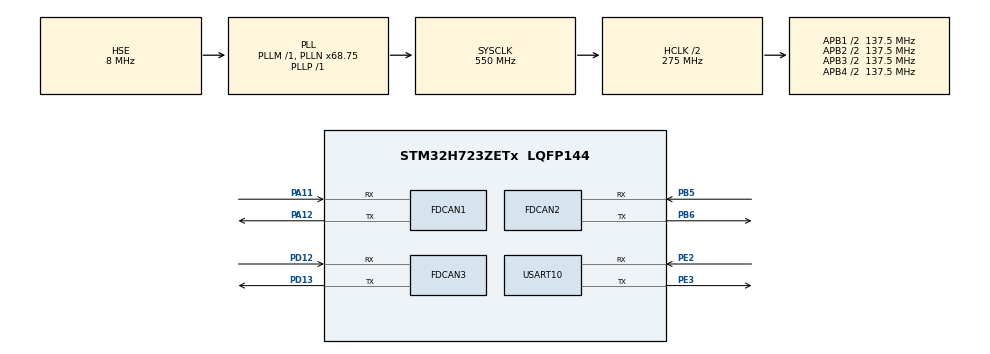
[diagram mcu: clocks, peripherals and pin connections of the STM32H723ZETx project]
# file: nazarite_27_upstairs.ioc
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CORTEX_M7.CPU_DCache=Enabled
CORTEX_M7.CPU_ICache=Enabled
CORTEX_M7.default_mode_Activation=1
Dma.Request0=USART10_RX
Dma.Request1=USART10_TX
Dma.USART10_RX.0.Direction=DMA_PERIPH_TO_MEMORY
Dma.USART10_RX.0.EventEnable=DISABLE
Dma.USART10_RX.0.FIFOMode=DMA_FIFOMODE_DISABLE
Dma.USART10_RX.0.Instance=DMA1_Stream0
Dma.USART10_RX.0.MemDataAlignment=DMA_MDATAALIGN_BYTE
Dma.USART10_RX.0.MemInc=DMA_MINC_ENABLE
Dma.USART10_RX.0.Mode=DMA_CIRCULAR
Dma.USART10_RX.0.PeriphDataAlignment=DMA_PDATAALIGN_BYTE
Dma.USART10_RX.0.PeriphInc=DMA_PINC_DISABLE
Dma.USART10_RX.0.Polarity=HAL_DMAMUX_REQ_GEN_RISING
Dma.USART10_RX.0.Priority=DMA_PRIORITY_LOW
Dma.USART10_RX.0.RequestNumber=1
Dma.USART10_RX.0.SignalID=NONE
Dma.USART10_RX.0.SyncEnable=DISABLE
Dma.USART10_RX.0.SyncPolarity=HAL_DMAMUX_SYNC_NO_EVENT
Dma.USART10_RX.0.SyncRequestNumber=1
Dma.USART10_RX.0.SyncSignalID=NONE
Dma.USART10_TX.1.Direction=DMA_MEMORY_TO_PERIPH
Dma.USART10_TX.1.EventEnable=DISABLE
Dma.USART10_TX.1.FIFOMode=DMA_FIFOMODE_DISABLE
Dma.USART10_TX.1.Instance=DMA1_Stream1
Dma.USART10_TX.1.MemDataAlignment=DMA_MDATAALIGN_BYTE
Dma.USART10_TX.1.MemInc=DMA_MINC_ENABLE
Dma.USART10_TX.1.Mode=DMA_NORMAL
Dma.USART10_TX.1.PeriphDataAlignment=DMA_PDATAALIGN_BYTE
Dma.USART10_TX.1.PeriphInc=DMA_PINC_DISABLE
Dma.USART10_TX.1.Polarity=HAL_DMAMUX_REQ_GEN_RISING
Dma.USART10_TX.1.Priority=DMA_PRIORITY_LOW
Dma.USART10_TX.1.RequestNumber=1
Dma.USART10_TX.1.SignalID=NONE
Dma.USART10_TX.1.SyncEnable=DISABLE
Dma.USART10_TX.1.SyncPolarity=HAL_DMAMUX_SYNC_NO_EVENT
Dma.USART10_TX.1.SyncRequestNumber=1
Dma.USART10_TX.1.SyncSignalID=NONE
FDCAN1.AutoRetransmission=ENABLE
FDCAN1.CalculateBaudRateNominal=1000000
FDCAN1.CalculateTimeBitNominal=1000
FDCAN1.CalculateTimeQuantumNominal=62.5
FDCAN1.DataTimeSeg1=1
FDCAN1.DataTimeSeg2=1
FDCAN1.NominalPrescaler=6
FDCAN1.NominalTimeSeg1=13
FDCAN1.NominalTimeSeg2=2
FDCAN1.RxFifo0ElmtsNbr=32
FDCAN1.StdFiltersNbr=32
FDCAN1.TxBuffersNbr=8
FDCAN1.TxFifoQueueElmtsNbr=8
FDCAN2.AutoRetransmission=ENABLE
FDCAN2.CalculateBaudRateNominal=1000000
FDCAN2.CalculateTimeBitNominal=1000
FDCAN2.CalculateTimeQuantumNominal=62.5
FDCAN2.MessageRAMOffset=500
FDCAN2.NominalPrescaler=6
FDCAN2.NominalTimeSeg1=13
FDCAN2.NominalTimeSeg2=2
FDCAN2.RxFifo0ElmtsNbr=8
FDCAN2.StdFiltersNbr=32
FDCAN2.TxBuffersNbr=8
FDCAN2.TxFifoQueueElmtsNbr=8
FDCAN3.AutoRetransmission=ENABLE
FDCAN3.CalculateBaudRateNominal=1000000
FDCAN3.CalculateTimeBitNominal=1000
FDCAN3.CalculateTimeQuantumNominal=62.5
FDCAN3.MessageRAMOffset=1000
FDCAN3.NominalPrescaler=6
FDCAN3.NominalTimeSeg1=13
FDCAN3.NominalTimeSeg2=2
FDCAN3.RxFifo0ElmtsNbr=8
FDCAN3.StdFiltersNbr=32
FDCAN3.TxBuffersNbr=8
FDCAN3.TxFifoQueueElmtsNbr=8
FREERTOS.Tasks01=defaultTask,24,128,StartDefaultTask,Default,NULL,Dynamic,NULL,NULL;Bluer_Da_analyz,41,256,Bluer_Da_analyz_Hander,Default,NULL,Dynamic,NULL,NULL;Upstairs_Task,42,256,Upstairs_Task_Hander,Default,NULL,Dynamic,NULL,NULL;Chassis_Task,41,384,Chassis_Task_Hander,Default,NULL,Dynamic,NULL,NULL
Mcu.Family=STM32H7
Mcu.Name=STM32H723ZETx
Mcu.Package=LQFP144
NVIC.DMA1_Stream0_IRQn=true\:5\:0\:false\:false\:true\:true\:false\:true\:true
NVIC.DMA1_Stream1_IRQn=true\:5\:0\:false\:false\:true\:true\:false\:true\:true
NVIC.FDCAN1_IT0_IRQn=true\:5\:0\:false\:false\:true\:true\:true\:true\:true
NVIC.FDCAN2_IT0_IRQn=true\:5\:0\:false\:false\:true\:true\:true\:true\:true
NVIC.FDCAN3_IT0_IRQn=true\:5\:0\:false\:false\:true\:true\:true\:true\:true
NVIC.PriorityGroup=NVIC_PRIORITYGROUP_4
NVIC.TIM23_IRQn=true\:15\:0\:false\:false\:true\:false\:false\:true\:true
NVIC.TimeBase=TIM23_IRQn
NVIC.TimeBaseIP=TIM23
NVIC.USART10_IRQn=true\:5\:0\:false\:false\:true\:true\:true\:true\:true
PA11.Mode=FDCAN_Activate
PA11.Signal=FDCAN1_RX
PA12.Mode=FDCAN_Activate
PA12.Signal=FDCAN1_TX
PA13(JTMS/SWDIO).Mode=Serial_Wire
PA13(JTMS/SWDIO).Signal=DEBUG_JTMS-SWDIO
PA14(JTCK/SWCLK).Mode=Serial_Wire
PA14(JTCK/SWCLK).Signal=DEBUG_JTCK-SWCLK
PB5.Mode=FDCAN_Activate
PB5.Signal=FDCAN2_RX
PB6.Mode=FDCAN_Activate
PB6.Signal=FDCAN2_TX
PD12.Mode=FDCAN_Activate
PD12.Signal=FDCAN3_RX
PD13.Mode=FDCAN_Activate
PD13.Signal=FDCAN3_TX
PE2.Mode=Asynchronous
PE2.Signal=USART10_RX
PE3.Mode=Asynchronous
PE3.Signal=USART10_TX
PH0-OSC_IN.Mode=HSE-External-Oscillator
PH0-OSC_IN.Signal=RCC_OSC_IN
PH1-OSC_OUT.Mode=HSE-External-Oscillator
PH1-OSC_OUT.Signal=RCC_OSC_OUT
ProjectManager.HeapSize=0x200
ProjectManager.StackSize=0x400
ProjectManager.TargetToolchain=MDK-ARM V5.32
RCC.ADCFreq_Value=96000000
RCC.APB1Freq_Value=137500000
RCC.APB2Freq_Value=137500000
RCC.APB3Freq_Value=137500000
RCC.APB4Freq_Value=137500000
RCC.CortexFreq_Value=550000000
RCC.D1PPRE=RCC_APB3_DIV2
RCC.D2PPRE1=RCC_APB1_DIV2
RCC.D2PPRE2=RCC_APB2_DIV2
RCC.D3PPRE=RCC_APB4_DIV2
RCC.DIVM1=1
RCC.DIVM2=1
RCC.DIVN1=68
RCC.DIVN2=24
RCC.DIVP1=1
RCC.DIVQ1=4
RCC.FDCANCLockSelection=RCC_FDCANCLKSOURCE_PLL2
RCC.HCLKFreq_Value=275000000
RCC.HPRE=RCC_HCLK_DIV2
RCC.HSE_VALUE=8000000
RCC.PLL1_VCI_Range=RCC_PLL1VCIRANGE_3
RCC.PLLFRACN=6144
RCC.PLLSourceVirtual=RCC_PLLSOURCE_HSE
RCC.SYSCLKFreq_VALUE=550000000
RCC.SYSCLKSource=RCC_SYSCLKSOURCE_PLLCLK
RCC.USBFreq_Value=137500000
USART10.VirtualMode-Asynchronous=VM_ASYNC
VP_FREERTOS_VS_CMSIS_V2.Mode=CMSIS_V2
VP_MEMORYMAP_VS_MEMORYMAP.Mode=CurAppReg
VP_SYS_VS_tim23.Mode=TIM23
board=custom

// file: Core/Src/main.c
/* USER CODE BEGIN Header */
/**
  ******************************************************************************
  * @file           : main.c
  * @brief          : Main program body
  ******************************************************************************
  * @attention
  *
  * Copyright (c) 2026 STMicroelectronics.
  * All rights reserved.
  *
  * This software is licensed under terms that can be found in the LICENSE file
  * in the root directory of this software component.
  * If no LICENSE file comes with this software, it is provided AS-IS.
  *
  ******************************************************************************
  */
/* USER CODE END Header */
#include "main.h"
#include "FreeRTOS.h"
#include "cmsis_os2.h"
#include "dma.h"
#include "fdcan.h"
#include "usart.h"
#include "gpio.h"

/* USER CODE BEGIN Includes */
#include "My_CAN.h"
#include "Chassis.h"
#include "DjiMotor.h"
#include "Motor_Test.h"
#include "Encoder_Test.h"
/* USER CODE END Includes */

/* USER CODE BEGIN PD */

/* 1：裸机直接输出测试（3508 电流 / GM6020 电压）；0：正常启动 RTOS。 */
#define MOTOR_CURRENT_TEST_ONLY 0

/* USER CODE END PD */

/* USER CODE BEGIN PV */

/* 电机测试观察量：Keil Watch 中查看；HAL_OK 仅表示已入发送队列。 */
volatile HAL_StatusTypeDef g_test_can_init_status[3] = {HAL_ERROR, HAL_ERROR, HAL_ERROR};
volatile HAL_StatusTypeDef g_test_motor_send_status = HAL_ERROR;
volatile uint32_t g_test_motor_send_count;
FDCAN_ProtocolStatusTypeDef g_test_can1_protocol;
FDCAN_ErrorCountersTypeDef g_test_can1_counters;

/* 关心哪些 CAN 报文 ID —— 这是应用层的事，BSP 不该管 */
static const CAN_Filter_t can1_filter[] = {
    { 0x201, 0x7FF },   /* 左前 3508 ID1 */
    { 0x202, 0x7FF },   /* 左后 3508 ID2 */
    { 0x205, 0x7FF },   /* 左前 6020 ID1 */
    { 0x206, 0x7FF },   /* 左后 6020 ID2 */
};
static const CAN_Filter_t can2_filter[] = {
    { 0x203, 0x7FF },   /* 右后 3508 ID3 */
    { 0x204, 0x7FF },   /* 右前 3508 ID4 */
    { 0x207, 0x7FF },   /* 右后 6020 ID3 */
    { 0x208, 0x7FF },   /* 右前 6020 ID4 */
};
static const CAN_Filter_t can3_filter[] = {
    { 0x201, 0x7FF },   /* 上层 3508_3 ID1 */
    { 0x202, 0x7FF },   /* 上层 3508_2 ID2 */
    { 0x203, 0x7FF },   /* 上层 2006_2 ID3 */
    { 0x204, 0x7FF },   /* 上层 2006_1 ID4 */
    { 0x205, 0x7FF },   /* 上层 3508_1 ID5 */
};
/* 漏一个 ID 的现象是「那台电机读数一直是 0」—— 不是报错，是滤波器把它
 * 挡在门外了。电机清单改了（DjiMotor_Init）这张表要跟着改。 */

/* USER CODE END PV */

void SystemClock_Config(void);
void PeriphCommonClock_Config(void);
static void MPU_Config(void);
void MX_FREERTOS_Init(void);

int main(void)
{

  /* MPU Configuration--------------------------------------------------------*/
  MPU_Config();

  /* Enable the CPU Cache */

  /* Enable I-Cache---------------------------------------------------------*/
  SCB_EnableICache();

  /* Enable D-Cache---------------------------------------------------------*/
  SCB_EnableDCache();

  /* MCU Configuration--------------------------------------------------------*/

  /* Reset of all peripherals, Initializes the Flash interface and the Systick. */
  HAL_Init();

  /* Configure the system clock */
  SystemClock_Config();

  /* Configure the peripherals common clocks */
  PeriphCommonClock_Config();

  /* Initialize all configured peripherals */
  MX_GPIO_Init();
  MX_DMA_Init();
  MX_FDCAN1_Init();
  MX_FDCAN2_Init();
  MX_FDCAN3_Init();
  MX_USART10_UART_Init();
  /* USER CODE BEGIN 2 */

  /* Register all 13 motors before CAN interrupts can deliver feedback. */
  DjiMotor_Init();

  /* CAN 必须在 MX_FDCANx_Init() 之后才能启动：
   * ConfigGlobalFilter / Start 都要求外设状态为 READY，
   * 而在这里 FDCAN 的时钟和 Message RAM 才刚配好 */
  g_test_can_init_status[0] = BSP_CAN_Init(&hfdcan1, can1_filter,
               sizeof(can1_filter) / sizeof(can1_filter[0]));
  g_test_can_init_status[1] = BSP_CAN_Init(&hfdcan2, can2_filter,
               sizeof(can2_filter) / sizeof(can2_filter[0]));
  g_test_can_init_status[2] = BSP_CAN_Init(&hfdcan3, can3_filter,
               sizeof(can3_filter) / sizeof(can3_filter[0]));
  /* 串口 BSP 创建 RTOS 信号量，由通信任务在调度器启动后初始化。
   * 裸机电流测试不能创建 RTOS 对象，否则 BASEPRI 会屏蔽 HAL tick。 */
  Chassis_Init();
  /* 控制参数由各自任务入口的 MotorApp_Init()/ChassisApp_Init() 加载。
   * CAN1/2 对应底盘 8 台，CAN3 对应上层 5 台，三路均已启动。
   */

#if MOTOR_CURRENT_TEST_ONLY
  /* GM6020 电压开环测试：左前 CAN1 ID1，测试期间不启动控制任务。
   * 3508/2006 测试改用 Test_MotorCurrent()。 */
  // for (;;) {
  //   g_test_motor_send_status = Test_MotorCurrent(&hfdcan3, 3, -2000);
  //   g_test_motor_send_status = Test_MotorCurrent(&hfdcan3, 4, 2000);
  //   g_test_motor_send_count++;
  //   HAL_Delay(10);
  //   (void)HAL_FDCAN_GetProtocolStatus(&hfdcan1, &g_test_can1_protocol);
  //   (void)HAL_FDCAN_GetErrorCounters(&hfdcan1, &g_test_can1_counters);
  // }

  Test_EncoderCalibrate(&hfdcan1, &hfdcan2, 1u, 2u, 3u, 4u);

while (1) {
    HAL_Delay(10);
}
#else
  /* USER CODE END 2 */

  /* Init scheduler */
  osKernelInitialize();  /* Call init function for freertos objects (in cmsis_os2.c) */
  MX_FREERTOS_Init();

  /* Start scheduler */
  osKernelStart();

  /* We should never get here as control is now taken by the scheduler */

  /* Infinite loop */
  while (1)
  {

    /* USER CODE BEGIN 3 */
  }
#endif /* MOTOR_CURRENT_TEST_ONLY */
  /* USER CODE END 3 */
}

void SystemClock_Config(void)
{
  RCC_OscInitTypeDef RCC_OscInitStruct = {0};
  RCC_ClkInitTypeDef RCC_ClkInitStruct = {0};

  /** Supply configuration update enable
  */
  HAL_PWREx_ConfigSupply(PWR_LDO_SUPPLY);

  /** Configure the main internal regulator output voltage
  */
  __HAL_PWR_VOLTAGESCALING_CONFIG(PWR_REGULATOR_VOLTAGE_SCALE0);

  while(!__HAL_PWR_GET_FLAG(PWR_FLAG_VOSRDY)) {}

  /** Initializes the RCC Oscillators according to the specified parameters
  * in the RCC_OscInitTypeDef structure.
  */
  RCC_OscInitStruct.OscillatorType = RCC_OSCILLATORTYPE_HSE;
  RCC_OscInitStruct.HSEState = RCC_HSE_ON;
  RCC_OscInitStruct.PLL.PLLState = RCC_PLL_ON;
  RCC_OscInitStruct.PLL.PLLSource = RCC_PLLSOURCE_HSE;
  RCC_OscInitStruct.PLL.PLLM = 1;
  RCC_OscInitStruct.PLL.PLLN = 68;
  RCC_OscInitStruct.PLL.PLLP = 1;
  RCC_OscInitStruct.PLL.PLLQ = 4;
  RCC_OscInitStruct.PLL.PLLR = 2;
  RCC_OscInitStruct.PLL.PLLRGE = RCC_PLL1VCIRANGE_3;
  RCC_OscInitStruct.PLL.PLLVCOSEL = RCC_PLL1VCOWIDE;
  RCC_OscInitStruct.PLL.PLLFRACN = 6144;
  if (HAL_RCC_OscConfig(&RCC_OscInitStruct) != HAL_OK)
  {
    Error_Handler();
  }

  /** Initializes the CPU, AHB and APB buses clocks
  */
  RCC_ClkInitStruct.ClockType = RCC_CLOCKTYPE_HCLK|RCC_CLOCKTYPE_SYSCLK
                              |RCC_CLOCKTYPE_PCLK1|RCC_CLOCKTYPE_PCLK2
                              |RCC_CLOCKTYPE_D3PCLK1|RCC_CLOCKTYPE_D1PCLK1;
  RCC_ClkInitStruct.SYSCLKSource = RCC_SYSCLKSOURCE_PLLCLK;
  RCC_ClkInitStruct.SYSCLKDivider = RCC_SYSCLK_DIV1;
  RCC_ClkInitStruct.AHBCLKDivider = RCC_HCLK_DIV2;
  RCC_ClkInitStruct.APB3CLKDivider = RCC_APB3_DIV2;
  RCC_ClkInitStruct.APB1CLKDivider = RCC_APB1_DIV2;
  RCC_ClkInitStruct.APB2CLKDivider = RCC_APB2_DIV2;
  RCC_ClkInitStruct.APB4CLKDivider = RCC_APB4_DIV2;

  if (HAL_RCC_ClockConfig(&RCC_ClkInitStruct, FLASH_LATENCY_3) != HAL_OK)
  {
    Error_Handler();
  }
}

void PeriphCommonClock_Config(void)
{
  RCC_PeriphCLKInitTypeDef PeriphClkInitStruct = {0};

  /** Initializes the peripherals clock
  */
  PeriphClkInitStruct.PeriphClockSelection = RCC_PERIPHCLK_FDCAN;
  PeriphClkInitStruct.PLL2.PLL2M = 1;
  PeriphClkInitStruct.PLL2.PLL2N = 24;
  PeriphClkInitStruct.PLL2.PLL2P = 2;
  PeriphClkInitStruct.PLL2.PLL2Q = 2;
  PeriphClkInitStruct.PLL2.PLL2R = 2;
  PeriphClkInitStruct.PLL2.PLL2RGE = RCC_PLL2VCIRANGE_3;
  PeriphClkInitStruct.PLL2.PLL2VCOSEL = RCC_PLL2VCOWIDE;
  PeriphClkInitStruct.PLL2.PLL2FRACN = 0;
  PeriphClkInitStruct.FdcanClockSelection = RCC_FDCANCLKSOURCE_PLL2;
  if (HAL_RCCEx_PeriphCLKConfig(&PeriphClkInitStruct) != HAL_OK)
  {
    Error_Handler();
  }
}

 /* MPU Configuration */

void MPU_Config(void)
{
  MPU_Region_InitTypeDef MPU_InitStruct = {0};

  /* Disables the MPU */
  HAL_MPU_Disable();

  /** Initializes and configures the Region and the memory to be protected
  */
  MPU_InitStruct.Enable = MPU_REGION_ENABLE;
  MPU_InitStruct.Number = MPU_REGION_NUMBER0;
  MPU_InitStruct.BaseAddress = 0x0;
  MPU_InitStruct.Size = MPU_REGION_SIZE_4GB;
  MPU_InitStruct.SubRegionDisable = 0x87;
  MPU_InitStruct.TypeExtField = MPU_TEX_LEVEL0;
  MPU_InitStruct.AccessPermission = MPU_REGION_NO_ACCESS;
  MPU_InitStruct.DisableExec = MPU_INSTRUCTION_ACCESS_DISABLE;
  MPU_InitStruct.IsShareable = MPU_ACCESS_SHAREABLE;
  MPU_InitStruct.IsCacheable = MPU_ACCESS_NOT_CACHEABLE;
  MPU_InitStruct.IsBufferable = MPU_ACCESS_NOT_BUFFERABLE;

  HAL_MPU_ConfigRegion(&MPU_InitStruct);
  /* Enables the MPU */
  HAL_MPU_Enable(MPU_PRIVILEGED_DEFAULT);

}

void HAL_TIM_PeriodElapsedCallback(TIM_HandleTypeDef *htim)
{
  if (htim->Instance == TIM23)
  {
    HAL_IncTick();
  }
}

void Error_Handler(void)
{
  __disable_irq();
  while (1)
  {
  }
}

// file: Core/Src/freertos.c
/* USER CODE BEGIN Header */
/**
  ******************************************************************************
  * File Name          : freertos.c
  * Description        : Code for freertos applications
  ******************************************************************************
  * @attention
  *
  * Copyright (c) 2026 STMicroelectronics.
  * All rights reserved.
  *
  * This software is licensed under terms that can be found in the LICENSE file
  * in the root directory of this software component.
  * If no LICENSE file comes with this software, it is provided AS-IS.
  *
  ******************************************************************************
  */
/* USER CODE END Header */

#include "FreeRTOS.h"
#include "task.h"
#include "main.h"
#include "FreeRTOS.h"
#include "cmsis_os2.h"

/* USER CODE BEGIN Includes */
#include "Communicate.h"
#include "My_task.h"
#include "ChassisTask.h"
/* USER CODE END Includes */

/* Definitions for defaultTask */
osThreadId_t defaultTaskHandle;
const osThreadAttr_t defaultTask_attributes = {
  .name = "defaultTask",
  .stack_size = 128 * 4,
  .priority = (osPriority_t) osPriorityNormal,
};
/* Definitions for Bluer_Da_analyz */
osThreadId_t Bluer_Da_analyzHandle;
const osThreadAttr_t Bluer_Da_analyz_attributes = {
  .name = "Bluer_Da_analyz",
  .stack_size = 256 * 4,
  .priority = (osPriority_t) osPriorityHigh1,
};
/* Definitions for Upstairs_Task */
osThreadId_t Upstairs_TaskHandle;
const osThreadAttr_t Upstairs_Task_attributes = {
  .name = "Upstairs_Task",
  .stack_size = 256 * 4,
  .priority = (osPriority_t) osPriorityHigh2,
};
/* Definitions for Chassis_Task */
osThreadId_t Chassis_TaskHandle;
const osThreadAttr_t Chassis_Task_attributes = {
  .name = "Chassis_Task",
  .stack_size = 384 * 4,
  .priority = (osPriority_t) osPriorityHigh1,
};

void StartDefaultTask(void *argument);
void Bluer_Da_analyz_Hander(void *argument);
void Upstairs_Task_Hander(void *argument);
void Chassis_Task_Hander(void *argument);

void MX_FREERTOS_Init(void); /* (MISRA C 2004 rule 8.1) */

void MX_FREERTOS_Init(void) {

  /* Create the thread(s) */
  /* creation of defaultTask */
  defaultTaskHandle = osThreadNew(StartDefaultTask, NULL, &defaultTask_attributes);

  /* creation of Bluer_Da_analyz */
  Bluer_Da_analyzHandle = osThreadNew(Bluer_Da_analyz_Hander, NULL, &Bluer_Da_analyz_attributes);

  /* creation of Upstairs_Task */
  Upstairs_TaskHandle = osThreadNew(Upstairs_Task_Hander, NULL, &Upstairs_Task_attributes);

  /* creation of Chassis_Task */
  Chassis_TaskHandle = osThreadNew(Chassis_Task_Hander, NULL, &Chassis_Task_attributes);

}

void StartDefaultTask(void *argument)
{
  for(;;)
  {
    osDelay(1);
  }
}

void Bluer_Da_analyz_Hander(void *argument)
{
  /* USER CODE BEGIN Bluer_Da_analyz_Hander */
  /* 真代码在 APP/Src/Communicate.c —— 这里只留一行转发。
   * 函数名/参数/大括号都是 CubeMX 生成区，不能删，否则重新生成会和
   * APP 里的定义撞成重复符号。
   *
   * 。 */
  Communicate_BluetoothTask();
  /* USER CODE END Bluer_Da_analyz_Hander */
}

void Upstairs_Task_Hander(void *argument)
{
  /* USER CODE BEGIN Upstairs_Task_Hander */
  /* Infinite loop */
  for(;;)
  {
    upstairs_task();
    osDelay(1);

  }
  /* USER CODE END Upstairs_Task_Hander */
}

void Chassis_Task_Hander(void *argument)
{
  /* USER CODE BEGIN Chassis_Task_Hander */
  ChassisTask(argument);
  /* USER CODE END Chassis_Task_Hander */
}
